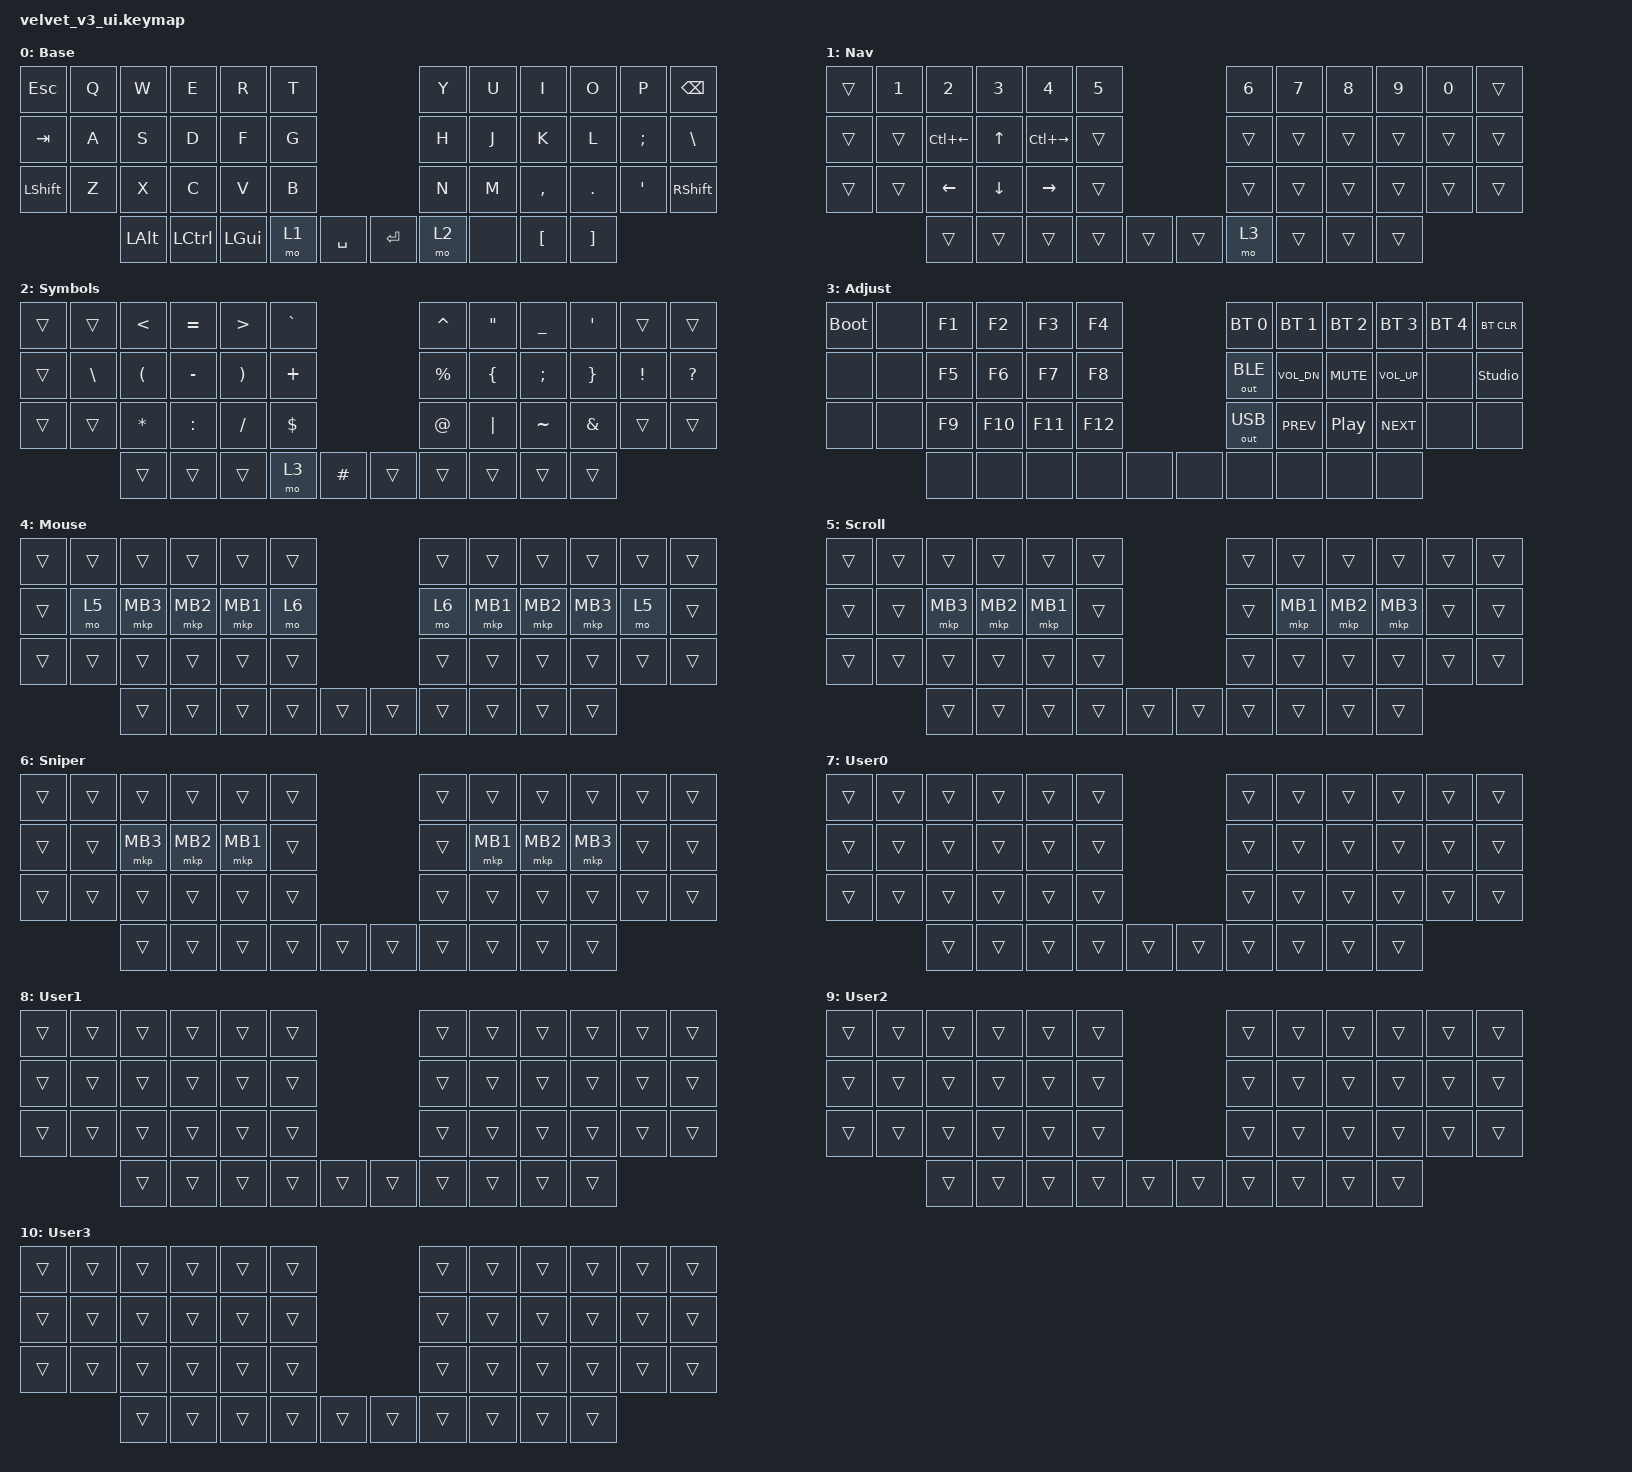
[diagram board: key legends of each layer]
#include "keys_ru.h"
#include <dt-bindings/zmk/input_transform.h>
#include <input/processors.dtsi>
#include <zephyr/dt-bindings/input/input-event-codes.h>
#include <behaviors.dtsi>
#include <dt-bindings/zmk/bt.h>
#include <dt-bindings/zmk/keys.h>
#include <dt-bindings/zmk/outputs.h>
#include <dt-bindings/zmk/pointing.h>

/ {
    behaviors {
        cap_sen: cap_sen {
            compatible = "zmk,behavior-hold-tap";
            label = "CAP_SEN";
            bindings = <&mo>, <&mkp>;

            #binding-cells = <2>;
            tapping-term-ms = <150>;
            hold-while-undecided;
        };

        mouse_layer: mouse_layer {
            compatible = "zmk,behavior-sticky-key";
            label = "MOUSE_LAYER";
            bindings = <&mo>;
            #binding-cells = <1>;
            release-after-ms = <200>;
        };

        zip_auto_mouse: zip_auto_mouse {
            compatible = "zmk,input-processor-temp-layer";
            #input-processor-cells = <2>;
            require-prior-idle-ms = <800>;
            excluded-positions = <>;
        };
    };

    combos {
        compatible = "zmk,combos";

        LP {
            bindings = <&kp LEFT_PARENTHESIS>;
            key-positions = <4 5>;
        };

        RP {
            bindings = <&kp RIGHT_PARENTHESIS>;
            key-positions = <6 7>;
        };

        LB {
            bindings = <&kp LEFT_BRACKET>;
            key-positions = <16 17>;
        };

        RB {
            bindings = <&kp RIGHT_BRACKET>;
            key-positions = <18 19>;
        };

        LBR {
            bindings = <&kp LEFT_BRACE>;
            key-positions = <28 29>;
        };

        RBR {
            bindings = <&kp RIGHT_BRACE>;
            key-positions = <30 31>;
        };

        MINU {
            bindings = <&kp MINUS>;
            key-positions = <3 4>;
        };

        PLU {
            bindings = <&kp PLUS>;
            key-positions = <2 3>;
        };

        DBQ {
            bindings = <&kp DOUBLE_QUOTES>;
            key-positions = <15 16>;
        };

        UNDSC {
            bindings = <&kp UNDERSCORE>;
            key-positions = <7 8>;
        };

        SQUO {
            bindings = <&kp SINGLE_QUOTE>;
            key-positions = <19 20>;
        };

        PP {
            bindings = <&kp PIPE>;
            key-positions = <8 9>;
        };
    };

    keymap {
        compatible = "zmk,keymap";

        base {
            bindings = <
&kp ESC    &kp Q  &kp W     &kp E             &kp R         &kp T                        &kp Y  &kp U  &kp I      &kp O     &kp P     &kp BSPC
&kp TAB    &kp A  &kp S     &kp D             &kp F         &kp G                        &kp H  &kp J  &kp K      &kp L     &kp SEMI  &kp BSLH
&kp LSHFT  &kp Z  &kp X     &kp C             &kp V         &kp B                        &kp N  &kp M  &kp COMMA  &kp DOT   &kp SQT   &kp RSHFT
                  &kp LALT  &kp LEFT_CONTROL  &kp LEFT_GUI  &mo 1  &kp SPACE    &kp RET  &mo 2  &none  &kp LBKT   &kp RBKT
            >;

            display-name = "Base";
        };

        nav {
            bindings = <
&trans  &kp N1  &kp N2              &kp N3          &kp N4           &kp N5                    &kp N6  &kp N7  &kp N8  &kp N9  &kp N0  &trans
&trans  &trans  &kp LC(LEFT_ARROW)  &kp UP          &kp LC(RIGHT)    &trans                    &trans  &trans  &trans  &trans  &trans  &trans
&trans  &trans  &kp LEFT            &kp DOWN_ARROW  &kp RIGHT_ARROW  &trans                    &trans  &trans  &trans  &trans  &trans  &trans
                &trans              &trans          &trans           &trans  &trans    &trans  &mo 3   &trans  &trans  &trans
            >;

            display-name = "Nav";
        };

        sym {
            bindings = <
&trans  &trans    &kp LT    &kp EQUAL  &kp GT    &kp GRAVE                      &kp CARET  &kp DQT   &kp UNDER  &kp SQT   &trans    &trans
&trans  &kp BSLH  &kp LPAR  &kp MINUS  &kp RPAR  &kp PLUS                       &kp PRCNT  &kp LBRC  &kp SEMI   &kp RBRC  &kp EXCL  &kp QUESTION
&trans  &trans    &kp STAR  &kp COLON  &kp FSLH  &kp DLLR                       &kp AT     &kp PIPE  &kp TILDE  &kp AMPS  &trans    &trans
                  &trans    &trans     &trans    &mo 3      &kp HASH    &trans  &trans     &trans    &trans     &trans
            >;

            display-name = "Symbols";
        };

        adj {
            bindings = <
&bootloader  &none  &kp F1  &kp F2   &kp F3   &kp F4                   &bt BT_SEL 0  &bt BT_SEL 1  &bt BT_SEL 2      &bt BT_SEL 3  &bt BT_SEL 4  &bt BT_CLR
&none        &none  &kp F5  &kp F6   &kp F7   &kp F8                   &out OUT_BLE  &kp C_VOL_DN  &kp C_MUTE        &kp C_VOL_UP  &none         &studio_unlock
&none        &none  &kp F9  &kp F10  &kp F11  &kp F12                  &out OUT_USB  &kp C_PREV    &kp C_PLAY_PAUSE  &kp C_NEXT    &none         &none
                    &none   &none    &none    &none    &none    &none  &none         &none         &none             &none
            >;

            display-name = "Adjust";
        };

        mouse {
            bindings = <
&trans  &trans  &trans    &trans    &trans    &trans                    &trans  &trans    &trans    &trans    &trans  &trans
&trans  &mo 5   &mkp MB3  &mkp MB2  &mkp MB1  &mo 6                     &mo 6   &mkp MB1  &mkp MB2  &mkp MB3  &mo 5   &trans
&trans  &trans  &trans    &trans    &trans    &trans                    &trans  &trans    &trans    &trans    &trans  &trans
                &trans    &trans    &trans    &trans  &trans    &trans  &trans  &trans    &trans    &trans
            >;

            display-name = "Mouse";
        };

        scroll {
            bindings = <
&trans  &trans  &trans    &trans    &trans    &trans                    &trans  &trans    &trans    &trans    &trans  &trans
&trans  &trans  &mkp MB3  &mkp MB2  &mkp MB1  &trans                    &trans  &mkp MB1  &mkp MB2  &mkp MB3  &trans  &trans
&trans  &trans  &trans    &trans    &trans    &trans                    &trans  &trans    &trans    &trans    &trans  &trans
                &trans    &trans    &trans    &trans  &trans    &trans  &trans  &trans    &trans    &trans
            >;

            display-name = "Scroll";
        };

        sniper {
            bindings = <
&trans  &trans  &trans    &trans    &trans    &trans                    &trans  &trans    &trans    &trans    &trans  &trans
&trans  &trans  &mkp MB3  &mkp MB2  &mkp MB1  &trans                    &trans  &mkp MB1  &mkp MB2  &mkp MB3  &trans  &trans
&trans  &trans  &trans    &trans    &trans    &trans                    &trans  &trans    &trans    &trans    &trans  &trans
                &trans    &trans    &trans    &trans  &trans    &trans  &trans  &trans    &trans    &trans
            >;

            display-name = "Sniper";
        };

        User0 {
            bindings = <
&trans  &trans  &trans  &trans  &trans  &trans                    &trans  &trans  &trans  &trans  &trans  &trans
&trans  &trans  &trans  &trans  &trans  &trans                    &trans  &trans  &trans  &trans  &trans  &trans
&trans  &trans  &trans  &trans  &trans  &trans                    &trans  &trans  &trans  &trans  &trans  &trans
                &trans  &trans  &trans  &trans  &trans    &trans  &trans  &trans  &trans  &trans
            >;

            display-name = "User0";
        };

        User1 {
            bindings = <
&trans  &trans  &trans  &trans  &trans  &trans                    &trans  &trans  &trans  &trans  &trans  &trans
&trans  &trans  &trans  &trans  &trans  &trans                    &trans  &trans  &trans  &trans  &trans  &trans
&trans  &trans  &trans  &trans  &trans  &trans                    &trans  &trans  &trans  &trans  &trans  &trans
                &trans  &trans  &trans  &trans  &trans    &trans  &trans  &trans  &trans  &trans
            >;

            display-name = "User1";
        };

        User2 {
            bindings = <
&trans  &trans  &trans  &trans  &trans  &trans                    &trans  &trans  &trans  &trans  &trans  &trans
&trans  &trans  &trans  &trans  &trans  &trans                    &trans  &trans  &trans  &trans  &trans  &trans
&trans  &trans  &trans  &trans  &trans  &trans                    &trans  &trans  &trans  &trans  &trans  &trans
                &trans  &trans  &trans  &trans  &trans    &trans  &trans  &trans  &trans  &trans
            >;

            display-name = "User2";
        };

        User3 {
            bindings = <
&trans  &trans  &trans  &trans  &trans  &trans                    &trans  &trans  &trans  &trans  &trans  &trans
&trans  &trans  &trans  &trans  &trans  &trans                    &trans  &trans  &trans  &trans  &trans  &trans
&trans  &trans  &trans  &trans  &trans  &trans                    &trans  &trans  &trans  &trans  &trans  &trans
                &trans  &trans  &trans  &trans  &trans    &trans  &trans  &trans  &trans  &trans
            >;

            display-name = "User3";
        };
    };
};

&trackball { cpi = <2000>; };

&trackball_listener {
    input-processors = <&zip_auto_mouse 4 500>, <&zip_xy_scaler 9 20>;

    scroller {
        layers = <5>;
        input-processors =
            <&zip_xy_transform INPUT_TRANSFORM_Y_INVERT>,
            <&zip_xy_scaler 1 64>,
            <&zip_xy_to_scroll_mapper>;
    };

    sniper {
        layers = <6>;
        input-processors = <&zip_xy_scaler 1 4>;
    };
};
